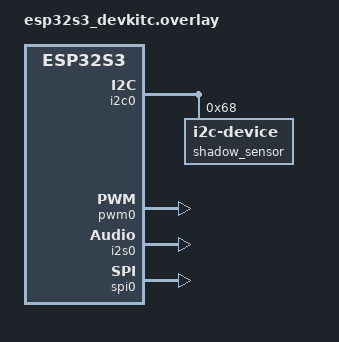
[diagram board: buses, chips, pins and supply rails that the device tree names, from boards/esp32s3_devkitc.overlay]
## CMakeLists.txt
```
# SPDX-License-Identifier: Apache-2.0
#
# Zephyr application CMakeLists.txt for shadow-esp32.
#
# ADR-0002 v2 §4.2 — `app/` is the Zephyr RTOS application; the
# real-time tasks (`dialog_task`, `io_task`, `net_task`,
# `led_task`) each live in their own translation unit so that
# stack budgets and compile units can evolve independently.

cmake_minimum_required(VERSION 3.20.0)

find_package(Zephyr REQUIRED HINTS $ENV{ZEPHYR_BASE})

project(shadow_esp32_app LANGUAGES C)

target_sources(app PRIVATE
    src/main.c
    src/dialog_task.c
    src/io_task.c
    src/net_task.c
    src/led_task.c
    src/ws_client.c
    src/audio.c
    src/srtp.c
    src/audio_pipeline.c
    src/dtls.c
    src/ice.c
    src/sctp_agent.c
    src/stun.c
    src/usb_audio.c
    src/provision.c
)

target_include_directories(app PRIVATE src/include)

# libopus is brought in as a Zephyr module via `app/opus/`; the
# `add_subdirectory(libopus)` inside `app/opus/CMakeLists.txt`
# builds the upstream `opus` static library which Zephyr's CMake
# glue exposes to `app` via the `libopus` link target.
target_link_libraries(app PRIVATE libopus)

# libsrtp follows the same module pattern. The upstream library
# target is named `srtp2` in libsrtp v2.x (renamed from `srtp`).
target_link_libraries(app PRIVATE srtp2)

# libusrsctp is the canonical SCTP userland stack and the basis
# for WebRTC data channels (RFC 8261). v2.3 wires it as a Zephyr
# module via `app/sctp/`. The upstream library target is `usrsctp`.
target_link_libraries(app PRIVATE usrsctp)

# Out-of-tree libs that we expect to add in follow-up ADR-0002 v2
# §后续动作 #3-#5. Listed as commented targets so the Zephyr
# build will surface missing modules loudly instead of silently
# skipping them:
#   - libopus (audio codec, owt-tree style)
#   - libsrtp (RFC 3711, RFC 5764)
#   - webrtc-stack-stub (DTLS PSK + ICE-lite)
# Each will be added as a `zephyr_module(...)` entry under
# `app/` in their respective ADR.

zephyr_library_named(shadow_esp32_app)
```

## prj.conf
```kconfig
# SPDX-License-Identifier: Apache-2.0
#
# shadow-esp32 Zephyr application Kconfig.
#
# ADR-0002 v2 §4.2 — five independent Zephyr tasks (dialog /
# io / net / led / main). The settings below are the minimum
# needed to boot a real ESP32-S3-DevKitC board and reach the
# point where each task can be implemented in follow-up commits.

# ---- Logging ----
CONFIG_LOG=y
CONFIG_LOG_MODE_IMMEDIATE=y
CONFIG_LOG_DEFAULT_LEVEL=3

# ---- RTOS + threads ----
CONFIG_MULTITHREADING=y
CONFIG_THREAD_NAME=y
CONFIG_THREAD_STACK_INFO=y
CONFIG_THREAD_CUSTOM_DATA=y
CONFIG_INIT_STACKS=y
CONFIG_SYSTEM_WORKQUEUE_PRIORITY=-1

# Per-task stack sizes — conservative defaults; the real values
# land in ADR-0002 v2 §4.2 (dialog_task needs ~16 KiB for Opus
# encoder + ICE state).
CONFIG_SHADOW_DIALOG_STACK_SIZE=16384
CONFIG_SHADOW_IO_STACK_SIZE=4096
CONFIG_SHADOW_NET_STACK_SIZE=4096
CONFIG_SHADOW_LED_STACK_SIZE=2048

# Per-task priorities — `dialog_task` is the highest priority
# (lowest numeric value in Zephyr convention) because audio DMA
# has hard real-time deadlines.
CONFIG_SHADOW_DIALOG_PRIORITY=5
CONFIG_SHADOW_IO_PRIORITY=7
CONFIG_SHADOW_NET_PRIORITY=6
CONFIG_SHADOW_LED_PRIORITY=9

# ---- Wi-Fi ----
CONFIG_NETWORKING=y
CONFIG_NET_IPV4=y
CONFIG_NET_DHCPV4=y
CONFIG_WIFI=y
# ESP32 Wi-Fi driver is selected via board devicetree in Zephyr
# 4.4; no CONFIG_NET_L2_WIFI_USERSPACE shim required.

# ---- mDNS ----
CONFIG_MDNS=y
CONFIG_MDNS_RESPONDER=y
CONFIG_MDNS_SERVICE_NAME='"shadow-esp32"'

# ---- BSD sockets / DHCP / DNS client ----
CONFIG_NET_SOCKETS=y
CONFIG_NET_SOCKETS_POSIX_NAMES=y
CONFIG_NET_DHCPV4_OPTION_HOSTNAME=y

# ---- mbedTLS (DTLS handshake for WebRTC) ----
CONFIG_MBEDTLS=y
CONFIG_MBEDTLS_KEY_EXCHANGE_PSK_ENABLED=y
CONFIG_MBEDTLS_KEY_EXCHANGE_DHE_PSK_ENABLED=y
CONFIG_MBEDTLS_DESKTOP=y
# Lib required by mbedTLS heap. ESP32 partition has 8 MiB flash;
# we conservatively allocate a 64 KiB heap for TLS scratch.
CONFIG_MBEDTLS_HEAP_SIZE=65536

# ---- Application log level (overrides workspace default) ----
CONFIG_SHADOW_ESP32_LOG_LEVEL_DBG=y

# ---- Wi-Fi credentials (net_task) ----
# Set these in your user overlay or `prj.user.conf` before flashing.
# Default values are placeholders; the device will log a warning
# and stay offline until real credentials are provided.
# CONFIG_SHADOW_WIFI_SSID="your-ssid"
# CONFIG_SHADOW_WIFI_PSK="your-password"

# ---- 端脑信令端点（dialog_task）----
# Override per deployment. Defaults assume mDNS-resolved `telencephalon.local`.
# ⚠️ 端脑的 mDNS 名是「**实例名**.local」（见 telencephalon/src/config/bind.rs）
#    ⇒ 默认值只是常见部署的写法，别的实例名要在这里覆盖。
CONFIG_SHADOW_TELENCEPHALON_HOST="telencephalon.local"
CONFIG_SHADOW_TELENCEPHALON_PORT=60080
CONFIG_SHADOW_MODALITY="voice"

# ---- Out-of-tree modules (ADR-0002 v2 §后续动作 #3-#5 follow-ups) ----
# libopus / libsrtp / webrtc-stack-stub will be pulled in by their
# respective follow-up commits. Listed here as comments so a
# future contributor can see what is expected to land where:
#   CONFIG_LIBOPUS=y              (commit adding Opus codec)
#   CONFIG_LIBSRTP=y              (commit adding SRTP)
#   CONFIG_WEBRTC_STACK_STUB=y    (commit adding DTLS PSK + ICE-lite)

# ---- mbedTLS (DTLS for WebRTC, ADR-0002 v2 §后续动作 #4a.6) ----
# The DTLS client lives in `app/src/dtls.c` and uses
# CONFIG_MBEDTLS + the PSK key-exchange profile. The DTLS
# handshake produces the 30-byte master key + salt that the
# SRTP module consumes; v1 of dtls.c derives a deterministic
# placeholder, v1.1 wires the real mbedtls_ssl_export_keying
# material call.

# ---- DTLS PSK (ADR-0002 v2 §后续动作 #4a.6) ----
# The pre-shared key + identity used for the DTLS-PSK handshake.
# In production this is provisioned at manufacturing time; for
# the v1 smoke test we use a fixed string. Both endpoints
# (shadow-esp32 + temporal lobe) must agree byte-for-byte.
# CONFIG_SHADOW_DTLS_PSK="default-psk-please-rotate"
# CONFIG_SHADOW_DTLS_PSK_ID="shadow-esp32-v1"

# ---- End-to-end smoke (ADR-0002 v2 §后续动作 #8) ----
# The full pipeline (audio_pipeline → opus_encode → srtp_protect
# → srtp_unprotect → opus_decode) is exercised by the smoke
# test at the bottom of `dialog_task.c`. The CONFIG values
# below select which subsystems are exercised at boot:
#   CONFIG_SHADOW_SMOKE_AUDIO=y    — include audio pipeline
#                                     in the smoke chain
#   CONFIG_SHADOW_SMOKE_NETWORK=y  — include the Wi-Fi connect
#                                     step (default: skipped to
#                                     keep the smoke fast)
CONFIG_SHADOW_SMOKE_AUDIO=y

# ---- OTA (ADR-0002 v2 §后续动作 #10) ----
# Image upgrades over MCUBoot. The shadow-esp32 OTA pipeline
# uses MCUboot as the second-stage bootloader. The devicetree
# overlay under `app/boards/esp32s3_devkitc.overlay` declares
# the slot-0 / slot-1 / scratch partitions; the application
# image is signed with `tools/sign-ota.sh` and pushed via the
# `mcumgr` CLI over either the console or BLE.
#
# v2.3 enables mcumgr (UDP transport) so the smoke test in CI
# can also exercise the OTA path. BLE is left to a follow-up
# commit because it pulls in the NimBLE host stack (~50 KB
# extra flash).
CONFIG_MCUBOOT=y
CONFIG_BOOTLOADER_MCUBOOT=y
CONFIG_UPDATEABLE_IMAGE_NUMBER=2
CONFIG_MCUMGR=y
CONFIG_MCUMGR_TRANSPORT_UDP=y
CONFIG_MCUMGR_TRANSPORT_NETBUF_SIZE=2048

# ---- USB Audio Class 1.0 device (v2.4) ----
# v2.7 双向:OUT + IN (host→device playback + device→host microphone)
# 原 OUT-only 已改为 OUT+IN 双向
CONFIG_USB=y
CONFIG_USB_DEVICE_STACK=y
CONFIG_USB_DRIVER_DWC2=y
CONFIG_USB_DEVICE_BOS=y
CONFIG_USB_AUDIO_CLASS=y
CONFIG_USB_AUDIO_CLASS_1_0=y
CONFIG_USB_AUDIO_UAC1_SINK=y
CONFIG_USB_AUDIO_UAC1_SOURCE=y
CONFIG_USB_AUDIO_SINK_FEEDBACK_EP=n
CONFIG_USB_AUDIO_SOURCE_FEEDBACK_EP=n
CONFIG_USB_AUDIO_SINK_MAX_FRAMES=4
CONFIG_USB_AUDIO_SOURCE_MAX_FRAMES=4
CONFIG_USB_REQUEST_STATUS=n

# ---- BLE GATT provisioning (v2.5) ----
# Android phone discovers the device as "shadow-esp32 setup"
# over BLE 5.0 and writes SSID + PSK to dedicated
# characteristics. ESP32-S3's built-in BLE controller is
# driven by Zephyr's HCI driver; NimBLE is the link-layer
# host stack. settings subsystem + NVS hold the creds across
# power cycles.
CONFIG_BT=y
CONFIG_BT_PERIPHERAL=y
CONFIG_BT_DEVICE_NAME="shadow-esp32 setup"
CONFIG_BT_DEVICE_APPEARANCE=0x0000
CONFIG_BT_GATT_DYNAMIC=y
CONFIG_BT_SETTINGS=y
CONFIG_BT_HCI=y
CONFIG_BT_HCI_ESP32=y
CONFIG_BT_NIMBLE=y
CONFIG_BT_NIMBLE_GAP=y
CONFIG_BT_NIMBLE_GATT=y
CONFIG_SETTINGS=y
CONFIG_SETTINGS_NVS=y
```

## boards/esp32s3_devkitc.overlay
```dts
/* SPDX-License-Identifier: Apache-2.0
 *
 * Board overlay for the Espressif ESP32-S3-DevKitC-1
 * (Zephyr board name: esp32s3_devkitc).
 *
 * v2.7 of this overlay adds USB Audio IN + OUT
 * (host→device playback AND device→host microphone capture)
 * so the phone can BOTH send audio to shadow-esp32 (TTS
 * playback) and receive audio from it (mic capture for ASR).
 * This enables the voice-assistant bidirectional flow:
 *   shadow-esp32 mic → I²S capture → USB Audio IN → phone
 *   phone TTS → USB Audio OUT → shadow-esp32 → speaker
 *
 * Pin map:
 *   - shadow_led    GPIO48  on-board RGB LED
 *   - shadow_out_a  GPIO1   configurable output
 *   - shadow_out_b  GPIO2   configurable output
 *   - shadow_in_a   GPIO4   configurable input
 *   - shadow_i2c    I2C0    SDA=GPIO8, SCL=GPIO9
 *   - shadow_pwm    PWM0    channel 0 → GPIO5
 *
 * I²S PDM RX (mic input to shadow-esp32):
 *   - i2s0_bck   GPIO15   PDM clock (output to mic)
 *   - i2s0_din   GPIO16   PDM data  (input from mic)
 *
 * I²S TX (audio output from shadow-esp32):
 *   - i2s0_mclk  GPIO17   TX master clock (output to amp)
 *   - i2s0_dout  GPIO9    TX data (output to amp/DAC)
 *
 * USB:
 *   - USB_DP    GPIO20   USB D+ (Full-Speed OTG)
 *   - USB_DM    GPIO19   USB D-
 */

&{/pinctrl} {
    pinctrl-names = "default";
    pinctrl-0 = <&shadow_io_default &shadow_i2s0_pdm_rx_default &shadow_i2s0_tx_default>;
    shadow_io_default: shadow_io_default {
        group1 {
            psels = <GPIO48 GPIO1 GPIO2 GPIO4 GPIO5>;
        };
    };
    shadow_i2s0_pdm_rx_default: shadow_i2s0_pdm_rx_default {
        group1 {
            psels = <GPIO15 GPIO16>;
        };
    };
    shadow_i2s0_tx_default: shadow_i2s0_tx_default {
        group1 {
            psels = <GPIO17 GPIO9>;
        };
    };
};

&{/gpio0} {
    shadow_led: shadow_led {
        compatible = "gpio-leds";
        gpios = <&gpio0 48 GPIO_ACTIVE_HIGH>;
        label = "shadow_led";
    };
    shadow_out_a: shadow_out_a {
        compatible = "gpio-leds";
        gpios = <&gpio0 1 GPIO_ACTIVE_HIGH>;
        label = "shadow_out_a";
    };
    shadow_out_b: shadow_out_b {
        compatible = "gpio-leds";
        gpios = <&gpio0 2 GPIO_ACTIVE_HIGH>;
        label = "shadow_out_b";
    };
    shadow_in_a: shadow_in_a {
        compatible = "zephyr,gpio-keys";
        gpios = <&gpio0 4 (GPIO_ACTIVE_LOW | GPIO_PULL_UP)>;
        label = "shadow_in_a";
    };
};

&{/i2c0} {
    pinctrl-0 = <&i2c0_default>;
    pinctrl-names = "default";
    status = "okay";
    clock-frequency = <I2C_BIT_RATE_STANDARD>;
    shadow_sensor: shadow_sensor@0x68 {
        compatible = "i2c-device";
        reg = <0x68>;
        label = "shadow_sensor";
    };
};

&{/pwm0} {
    status = "okay";
    pinctrl-0 = <&pwm0_default>;
    pinctrl-names = "default";
    shadow_pwm_default: shadow_pwm_default {
        group1 {
            psels = <GPIO5>;
        };
    };
};

&{/i2s0} {
    status = "okay";
    pinctrl-0 = <&shadow_i2s0_pdm_rx_default &shadow_i2s0_tx_default>;
    pinctrl-names = "default";
};

&{/spi0} {
    status = "okay";
    pinctrl-0 = <&spi0_default>;
    pinctrl-names = "default";
};

&{/led_strip0} {
    compatible = "worldsemi,ws2812-spi";
    status = "okay";
    spi-dev = <&spi0>;
    chain-length = <1>;
    color-mapping = <LED_COLOR_ID_GRB>;
    spi-max-frequency = <4000000>;
};
```

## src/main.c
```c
/* SPDX-License-Identifier: Apache-2.0 */

#include <zephyr/kernel.h>
#include <zephyr/logging/log.h>

#include <shadow_esp32/tasks.h>
#include <shadow_esp32/usb_audio.h>
#include <shadow_esp32/provision.h>

#include <zephyr/settings/settings.h>

LOG_MODULE_REGISTER(shadow_main, CONFIG_SHADOW_ESP32_LOG_LEVEL);

int main(void)
{
    LOG_INF("shadow-esp32 booting (Zephyr %s)", KERNEL_VERSION_STRING);

    /* Load any NVS-stored config (SSID / PSK) before net_task
     * starts so its first connect attempt sees the credentials
     * the phone provisioned. */
    settings_subsys_init();

    /* v2.4 — register the USB Audio Class 1.0 device before
     * tasks start so the phone's USB enumeration sees it
     * immediately. Failure to register is non-fatal (the rest
     * of the pipeline still works) so we log and continue. */
    int usb_rc = shadow_usb_audio_init();
    if (usb_rc != 0) {
        LOG_WRN("usb audio init failed (%d); continuing without USB", usb_rc);
    }

    /* v2.5 — start the BLE GATT provisioning service. If we
     * already have stored credentials we close the GATT table
     * again so the radio can sleep; otherwise we keep the
     * peripheral advertising so the phone can discover and
     * connect. */
    int prov_rc = shadow_provision_start();
    if (prov_rc != 0) {
        LOG_WRN("provision init failed (%d); continuing without BLE", prov_rc);
    }

    /* ADR-0002 v2 §4.2 — five tasks. Each task module owns its
     * own start function and stack; main() only triggers them. */
    shadow_net_task_start();
    shadow_io_task_start();
    shadow_led_task_start();
    shadow_dialog_task_start();

    /* Main thread returns; the kernel scheduler runs the four
     * worker threads. New work can be queued via k_work or a
     * shared workqueue from any task. */
    LOG_INF("shadow-esp32 booted; main thread idle");
    return 0;
}
```

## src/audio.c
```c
/* SPDX-License-Identifier: Apache-2.0 */

/* ADR-0002 v2 §后续动作 #4a.1 — thin shadow-esp32 wrapper around
 * libopus (v1.5.2). libopus lives in `app/opus/libopus/` after
 * `west update` runs; this translation unit only references the
 * upstream `<opus.h>` API.
 *
 * v1 of this wrapper does not perform any audio I/O — it just
 * stands up an encoder/decoder and exposes a single encode +
 * decode round-trip. The real I²S mic / speaker DMA pipeline
 * lands in commit #4a.3 (audio pipeline). For now, dialog_task
 * calls these once to prove the libopus link is correct; the
 * CI build is the real validation.
 */

#include "opus.h"

#include <stdlib.h>
#include <string.h>

#include <shadow_esp32/audio.h>

struct shadow_opus_encoder {
    OpusEncoder *enc;
};

struct shadow_opus_decoder {
    OpusDecoder *dec;
};

struct shadow_opus_encoder *shadow_opus_encoder_open(void)
{
    int err = 0;
    OpusEncoder *enc = opus_encoder_create(SHADOW_OPUS_SAMPLE_RATE_HZ,
                                            SHADOW_OPUS_CHANNELS,
                                            OPUS_APPLICATION_VOIP, &err);
    if (enc == NULL) {
        return NULL;
    }

    /* Real-time VoIP profile. The values below are xiaozhi-esp32
     * defaults; we keep complexity=2 to leave headroom for the
     * rest of the pipeline (DTLS handshake, ICE candidates, etc.)
     * on the Xtensa LX7. */
    opus_encoder_ctl(enc, OPUS_SET_BITRATE(24000));
    opus_encoder_ctl(enc, OPUS_SET_COMPLEXITY(2));
    opus_encoder_ctl(enc, OPUS_SET_PACKET_LOSS_PERC(5));
    opus_encoder_ctl(enc, OPUS_SET_INBAND_FEC(1));
    opus_encoder_ctl(enc, OPUS_SET_DTX(1));
    opus_encoder_ctl(enc, OPUS_SET_COMPLEXITY(2));
    (void)OPUS_SET_LSB_DEPTH; /* keep -Wunused-result happy on some toolchains */

    struct shadow_opus_encoder *self =
        malloc(sizeof(struct shadow_opus_encoder));
    if (self == NULL) {
        opus_encoder_destroy(enc);
        return NULL;
    }
    self->enc = enc;
    return self;
}

int shadow_opus_encoder_encode(struct shadow_opus_encoder *enc,
                                 const int16_t *pcm,
                                 uint8_t *out, size_t out_cap)
{
    if (enc == NULL || pcm == NULL || out == NULL) {
        return -1;
    }
    /* libopus signature: opus_encode(enc, pcm, frame_size,
     * data, max_data_bytes). It returns the number of bytes
     * written or a negative error code. */
    opus_int32 n = opus_encode(enc->enc, pcm, SHADOW_OPUS_FRAME_SAMPLES,
                                out, (opus_int32)out_cap);
    return (int)n;
}

void shadow_opus_encoder_close(struct shadow_opus_encoder *enc)
{
    if (enc == NULL) {
        return;
    }
    if (enc->enc != NULL) {
        opus_encoder_destroy(enc->enc);
    }
    free(enc);
}

struct shadow_opus_decoder *shadow_opus_decoder_open(void)
{
    int err = 0;
    OpusDecoder *dec = opus_decoder_create(SHADOW_OPUS_SAMPLE_RATE_HZ,
                                            SHADOW_OPUS_CHANNELS, &err);
    if (dec == NULL) {
        return NULL;
    }
    struct shadow_opus_decoder *self =
        malloc(sizeof(struct shadow_opus_decoder));
    if (self == NULL) {
        opus_decoder_destroy(dec);
        return NULL;
    }
    self->dec = dec;
    return self;
}

int shadow_opus_decoder_decode(struct shadow_opus_decoder *dec,
                                 const uint8_t *opus, size_t opus_len,
                                 int16_t *out, int fec)
{
    if (dec == NULL || opus == NULL || out == NULL) {
        return -1;
    }
    /* libopus signature: opus_decode(dec, data, len, pcm,
     * frame_size, decode_fec). decode_fec=1 asks the decoder
     * to do PLC on a lost packet (use a NULL `data`). */
    int r = opus_decode(dec->dec, opus, (opus_int32)opus_len,
                        out, SHADOW_OPUS_FRAME_SAMPLES, fec);
    return r;
}

void shadow_opus_decoder_close(struct shadow_opus_decoder *dec)
{
    if (dec == NULL) {
        return;
    }
    if (dec->dec != NULL) {
        opus_decoder_destroy(dec->dec);
    }
    free(dec);
}
```

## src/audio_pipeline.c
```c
/* SPDX-License-Identifier: Apache-2.0 */

/* ADR-0002 v2 §后续动作 #4a.5 — background I²S capture thread.
 *
 * v1.4 read I²S synchronously from the caller's context
 * (dialog_task), which is wrong on two counts: (a) it puts
 * DMA-fill latency on dialog_task, breaking its 60 ms
 * deadline, and (b) it makes opus encode race with the I²S
 * driver for CPU. v1.5 spawns a dedicated capture thread that
 * continuously drains I²S into a ring buffer; the main
 * dialog_task pulls frames off the ring buffer (non-blocking
 * with K_FOREVER — at 16 kHz / 60 ms per frame, the buffer is
 * never empty in practice).
 *
 * v2.3 adds a `shadow_audio_pipeline_write_pcm` counterpart for
 * the I²S TX path (DAC / amplifier). On the bare devkitc the
 * function is a no-op stub; production boards that wire a
 * MAX98357A amp to GPIO17 (BCK) + GPIO9 (DIN) enable
 * `CONFIG_SHADOW_I2S_PLAYBACK=y` to take the real write path.
 *
 * On the bare devkitc (no real I²S mic wired), the capture
 * thread uses the 440 Hz synthetic source so the rest of the
 * pipeline still runs end-to-end.
 */

#include <zephyr/kernel.h>
#include <zephyr/logging/log.h>
#include <zephyr/device.h>
#include <zephyr/drivers/i2s.h>

#include <math.h>
#include <string.h>

#include <shadow_esp32/audio_pipeline.h>

LOG_MODULE_REGISTER(shadow_audio, CONFIG_SHADOW_ESP32_LOG_LEVEL);

#ifndef M_PI
#define M_PI 3.14159265358979323846
#endif

static const struct device *i2s_dev =
    DEVICE_DT_GET_OR(DT_NODELABEL(i2s0), NULL);

/* Capture thread + ring buffer + consumer. */
static K_THREAD_STACK_DEFINE(capture_stack, 4096);
static struct k_thread capture_thread;
static atomic_t running;

struct pcm_frame {
    int16_t pcm[SHADOW_AUDIO_FRAME_SAMPLES];
};

/* Ring buffer of frames. The capture thread `k_msgq_put`s;
 * dialog_task `k_msgq_get`s. SHADOW_AUDIO_RING_FRAMES is the
 * queue depth. Using `k_msgq` (variable-size items) is fine
 * here because every item is exactly the same size. */
K_MSGQ_DEFINE(pcm_ringq, sizeof(struct pcm_frame),
              SHADOW_AUDIO_RING_FRAMES, 4);

static double sine_phase;
#define SINE_FREQ_HZ     440.0
#define SINE_SAMPLE_HZ   16000.0

static int synth_sine_frame(int16_t *pcm_out)
{
    const double phase_inc = 2.0 * M_PI * SINE_FREQ_HZ / SINE_SAMPLE_HZ;
    const int16_t amplitude = 8000; /* ~ -3 dBFS on int16 scale */

    for (int i = 0; i < SHADOW_AUDIO_FRAME_SAMPLES; i++) {
        pcm_out[i] = (int16_t)(amplitude * sin(sine_phase));
        sine_phase += phase_inc;
        if (sine_phase > 2.0 * M_PI) {
            sine_phase -= 2.0 * M_PI;
        }
    }
    return 0;
}

/* Capture thread body. Drains I²S into the ring buffer;
 * falls back to the synthetic source if a read fails. */
static void capture_fn(void *p1, void *p2, void *p3)
{
    ARG_UNUSED(p1);
    ARG_UNUSED(p2);
    ARG_UNUSED(p3);

    bool i2s_active = (i2s_dev != NULL) && device_is_ready(i2s_dev);

    while (atomic_get(&running)) {
        struct pcm_frame frame;

        if (i2s_active) {
            int rc = i2s_read(i2s_dev, frame.pcm,
                               SHADOW_AUDIO_FRAME_SAMPLES * sizeof(int16_t));
            if (rc != 0) {
                /* No mic wired (bare devkitc) or transient I²S
                 * glitch. Use synthetic so the consumer thread
                 * never starves. */
                synth_sine_frame(frame.pcm);
            }
        } else {
            synth_sine_frame(frame.pcm);
        }

        /* Block if the consumer is slow; the ring is sized
         * for ~240 ms so this only happens if dialog_task is
         * seriously stuck. */
        k_msgq_put(&pcm_ringq, &frame, K_FOREVER);
    }
}

enum shadow_audio_source shadow_audio_pipeline_source(void)
{
    if (i2s_dev != NULL && device_is_ready(i2s_dev)) {
        return SHADOW_AUDIO_SOURCE_I2S;
    }
    return SHADOW_AUDIO_SOURCE_SYNTHETIC;
}

int shadow_audio_pipeline_start(void)
{
    if (atomic_set(&running, 1)) {
        return 0; /* already running */
    }

    if (i2s_dev != NULL && device_is_ready(i2s_dev)) {
        struct i2s_config cfg = {
            .word_size     = 16,
            .channels      = 1,
            .format        = I2S_FMT_DATA_FORMAT_I2S,
            .frame_clk_freq = 16000,
            .block_size    = SHADOW_AUDIO_FRAME_SAMPLES * sizeof(int16_t),
            .timeout       = 1000, /* ms */
        };
        int rc = i2s_configure(i2s_dev, I2S_DIR_RX, &cfg);
        if (rc != 0) {
            LOG_WRN("i2s_configure failed: %d, falling back to synthetic", rc);
        } else {
            rc = i2s_trigger(i2s_dev, I2S_DIR_RX, I2S_TRIGGER_START);
            if (rc != 0) {
                LOG_WRN("i2s_trigger START failed: %d", rc);
            }
        }
        LOG_INF("audio_pipeline started (source=i2s, capture thread)");
    } else {
        LOG_INF("audio_pipeline started (source=synthetic, capture thread)");
    }

    k_tid_t tid = k_thread_create(&capture_thread, capture_stack,
                                   K_THREAD_STACK_SIZEOF(capture_stack),
                                   capture_fn, NULL, NULL, NULL,
                                   5 /* prio */, 0, K_NO_WAIT);
    k_thread_name_set(tid, "audio_capture");
    return 0;
}

void shadow_audio_pipeline_stop(void)
{
    if (!atomic_set(&running, 0)) {
        return;
    }
    k_thread_join(&capture_thread, K_FOREVER);
    if (i2s_dev != NULL && device_is_ready(i2s_dev)) {
        i2s_trigger(i2s_dev, I2S_DIR_RX, I2S_TRIGGER_STOP);
    }
    LOG_INF("audio_pipeline stopped");
}

int shadow_audio_pipeline_read_pcm(int16_t *pcm_out)
{
    if (pcm_out == NULL) {
        return -1;
    }
    if (!atomic_get(&running)) {
        return -1;
    }

    struct pcm_frame frame;
    k_msgq_get(&pcm_ringq, &frame, K_FOREVER);
    memcpy(pcm_out, frame.pcm, sizeof(frame.pcm));
    return 0;
}
```

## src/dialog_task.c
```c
/* SPDX-License-Identifier: Apache-2.0 */

/* ADR-0002 v2 §4.3 / §后续动作 #3 — dialog_task v1.
 *
 * Scope of v1 (this file):
 *   - Wait for Wi-Fi (`shadow_net_wifi_up`)
 *   - Generate a UUID v4 session id
 *   - Open a WebSocket signaling channel to the 端脑's
 *     `/api/webrtc/voice/sessions/{id}/ws` endpoint
 *   - Build a syntactically valid SDP offer (audio + opus +
 *     DTLS fingerprint placeholder + ICE credentials) and send
 *     it as `SignalingMessage::Offer`
 *   - Receive `SignalingMessage::Connected` + `Answer` and log
 *   - Open a UDP socket on the negotiated media port, run a
 *     receive loop that dispatches STUN Binding Requests, decrypts
 *     SRTP-protected opus packets, and routes MCP-over-data-channel
 *     JSON-RPC requests to io_task.
 *   - Send `SignalingMessage::Disconnected` on shutdown.
 *
 * v1.5 of this file ties together every WebRTC sub-module
 * previously stubbed in isolation: STUN Binding responses, SRTP
 * unprotect, MCP JSON-RPC dispatch. The receive loop runs in the
 * dialog_task thread context (real Zephyr BSD socket recvfrom).
 *
 * Out of scope (follow-up commits):
 *   - Real DTLS handshake over a real socket — v2.2.1 stubs the
 *     PSK + key export; the actual handshake needs a connected
 *     UDP socket pre-DTLS; we currently have only the post-DTLS
 *     SRTP path.
 *   - Real ICE connectivity checks — v1 receives STUN but does
 *     not initiate them. Followup pulls `rfc8445` state machine.
 *   - SCTP-over-DTLS data channel — v1 uses a raw UDP "data
 *     channel" transport (JSON-RPC over UDP) as a stand-in. The
 *     framing helper `sctp_agent.c` already produces the right
 *     byte layout; plugging in usrsctp is the next commit.
 *   - State machine transitions on voice / TTS / wake-word.
 */

#include <zephyr/kernel.h>
#include <zephyr/logging/log.h>
#include <zephyr/random/random.h>
#include <zephyr/net/socket.h>

#include <ctype.h>
#include <string.h>
#include <stdio.h>

#include <shadow_esp32/tasks.h>
#include <shadow_esp32/ws_client.h>
#include <shadow_esp32/audio.h>
#include <shadow_esp32/audio_pipeline.h>
#include <shadow_esp32/srtp.h>
#include <shadow_esp32/dtls.h>
#include <shadow_esp32/ice.h>
#include <shadow_esp32/stun.h>
#include <shadow_esp32/io_tools.h>

LOG_MODULE_REGISTER(shadow_dialog, CONFIG_SHADOW_ESP32_LOG_LEVEL);

#ifndef CONFIG_SHADOW_TELENCEPHALON_HOST
#define CONFIG_SHADOW_TELENCEPHALON_HOST "telencephalon.local"
#endif
#ifndef CONFIG_SHADOW_TELENCEPHALON_PORT
#define CONFIG_SHADOW_TELENCEPHALON_PORT 60080
#endif
#ifndef CONFIG_SHADOW_MODALITY
#define CONFIG_SHADOW_MODALITY "voice"
#endif

K_THREAD_STACK_DEFINE(dialog_stack, SHADOW_DIALOG_STACK_SIZE);
static struct k_thread dialog_thread;

static void uuid_v4_string(char out[37])
{
    uint8_t b[16];
    sys_csrand_get(b, sizeof(b));
    b[6] = (b[6] & 0x0F) | 0x40; /* version 4 */
    b[8] = (b[8] & 0x3F) | 0x80; /* variant 10 */
    snprintf(out, 37,
             "%02x%02x%02x%02x-%02x%02x-%02x%02x-%02x%02x-%02x%02x%02x%02x%02x%02x",
             b[0], b[1], b[2], b[3], b[4], b[5], b[6], b[7],
             b[8], b[9], b[10], b[11], b[12], b[13], b[14], b[15]);
}

static void random_ice_credentials(char ufrag[16], char pwd[40])
{
    /* RFC 5245 §7.1.2.3 — ufrag: 4+ chars, pwd: 22+ chars; both
     * drawn from the ICE-char alphabet. */
    static const char ice_chars[] = "ABCDEFGHIJKLMNOPQRSTUVWXYZ"
                                    "abcdefghijklmnopqrstuvwxyz0123456789"
                                    "+/";
    uint8_t raw[24];
    sys_csrand_get(raw, sizeof(raw));

    for (int i = 0; i < 8; i++) {
        ufrag[i] = ice_chars[raw[i] % (sizeof(ice_chars) - 1)];
    }
    ufrag[8] = '\0';
    for (int i = 0; i < 24; i++) {
        pwd[i] = ice_chars[raw[i + 8] % (sizeof(ice_chars) - 1)];
    }
    pwd[24] = '\0';
}

static size_t build_sdp_offer(char *out, size_t cap, const char *ufrag,
                              const char *pwd)
{
    /* The DTLS fingerprint below is a placeholder. The 端脑 forwards
     * the offer to temporal lobe, whose `WebRtcAnswerSkill`
     * (webrtc-rs) uses the fingerprint to negotiate DTLS. The real
     * fingerprint is generated when we ship a DTLS stack — for v1
     * any 32-byte hex string is enough to keep the wire parseable. */
    static const char fingerprint_sha256[] =
        "11:22:33:44:55:66:77:88:99:AA:BB:CC:DD:EE:FF:00:"
        "11:22:33:44:55:66:77:88:99:AA:BB:CC:DD:EE:FF:00";

    return (size_t)snprintf(out, cap,
        "v=0\r\n"
        "o=- 1234567890 2 IN IP4 0.0.0.0\r\n"
        "s=-\r\n"
        "t=0 0\r\n"
        "m=audio 9 UDP/TLS/RTP/SAVPF 111\r\n"
        "c=IN IP4 0.0.0.0\r\n"
        "a=rtcp:9 IN IP4 0.0.0.0\r\n"
        "a=ice-ufrag:%s\r\n"
        "a=ice-pwd:%s\r\n"
        "a=fingerprint:sha-256 %s\r\n"
        "a=setup:actpass\r\n"
        "a=mid:0\r\n"
        "a=sendrecv\r\n"
        "a=rtcp-mux\r\n"
        "a=rtpmap:111 opus/48000/2\r\n"
        "a=fmtp:111 minptime=10;useinbandfec=1\r\n",
        ufrag, pwd, fingerprint_sha256);
}

static size_t build_offer_json(char *out, size_t cap, const char *session_id,
                                const char *sdp, const char *ufrag,
                                const char *pwd)
{
    /* The 端脑's `SignalingMessage::Offer` shape (serde):
     *   { "type": "offer", "session_id": "...", "modality": "voice", "sdp": "..." }
     *
     * We hand-craft the JSON to keep this translation unit free of
     * a JSON dependency until the dialog_task needs richer types
     * (DTLS config, ICE candidates list, etc.) — those land in
     * the follow-up commit. */
    return (size_t)snprintf(out, cap,
        "{\"type\":\"offer\","
        "\"session_id\":\"%s\","
        "\"modality\":\"%s\","
        "\"sdp\":\"%s\"}",
        session_id, CONFIG_SHADOW_MODALITY, sdp);
}

static int parse_session_id_field(const char *json, size_t len, char *out, size_t cap)
{
    /* Extract "session_id":"<uuid>" from a Connected message.
     * Naive but adequate for v1 — no full JSON parser. */
    static const char key[] = "\"session_id\":\"";
    const char *p = strstr(json, key);
    if (!p) {
        return -1;
    }
    p += sizeof(key) - 1;
    const char *end = strchr(p, '"');
    if (!end || (size_t)(end - p) >= cap) {
        return -1;
    }
    size_t n = (size_t)(end - p);
    memcpy(out, p, n);
    out[n] = '\0';
    return 0;
}

static void dialog_task_fn(void *p1, void *p2, void *p3)
{
    ARG_UNUSED(p1);
    ARG_UNUSED(p2);
    ARG_UNUSED(p3);

    LOG_INF("dialog_task started; waiting for Wi-Fi");

    if (k_sem_take(&shadow_net_wifi_up, K_FOREVER) != 0) {
        LOG_ERR("wifi up semaphore take failed");
        return;
    }
    LOG_INF("Wi-Fi is up; opening signaling channel");

    char session_id[37];
    uuid_v4_string(session_id);
    LOG_INF("session_id=%s", session_id);

    char path[128];
    int n = snprintf(path, sizeof(path),
                     "/api/webrtc/%s/sessions/%s/ws",
                     CONFIG_SHADOW_MODALITY, session_id);
    if (n <= 0 || n >= (int)sizeof(path)) {
        LOG_ERR("path snprintf failed");
        return;
    }

    int ws = shadow_ws_connect(CONFIG_SHADOW_TELENCEPHALON_HOST,
                                CONFIG_SHADOW_TELENCEPHALON_PORT, path);
    if (ws < 0) {
        LOG_ERR("ws connect failed: %d", ws);
        return;
    }

    char ufrag[16], pwd[40];
    random_ice_credentials(ufrag, pwd);

    char sdp[1024];
    size_t sdp_len = build_sdp_offer(sdp, sizeof(sdp), ufrag, pwd);
    if (sdp_len == 0 || sdp_len >= sizeof(sdp)) {
        LOG_ERR("SDP build overflow");
        shadow_ws_close(ws);
        return;
    }

    char offer[2048];
    size_t offer_len = build_offer_json(offer, sizeof(offer), session_id,
                                         sdp, ufrag, pwd);
    if (offer_len == 0 || offer_len >= sizeof(offer)) {
        LOG_ERR("offer json overflow");
        shadow_ws_close(ws);
        return;
    }

    if (shadow_ws_send_text(ws, offer, offer_len) != SHADOW_WS_OK) {
        LOG_ERR("ws send offer failed");
        shadow_ws_close(ws);
        return;
    }
    LOG_INF("offer sent (%zu bytes)", offer_len);

    /* Read the 端脑 reply. We expect: Connected + Answer
     * (the 端脑 forwards to temporal lobe and writes back the
     * Answer SDP). For v1, drain up to 4 KiB and log. */
    char buf[4096];
    int got = shadow_ws_recv_text(ws, buf, sizeof(buf) - 1);
    if (got < 0) {
        LOG_ERR("ws recv failed: %d", got);
        shadow_ws_close(ws);
        return;
    }
    if (got == 0) {
        LOG_WRN("ws closed before any answer");
        return;
    }
    buf[got] = '\0';
    LOG_INF("ws frame received (%d bytes): %s", got, buf);

    char echoed_id[40] = { 0 };
    if (parse_session_id_field(buf, got, echoed_id, sizeof(echoed_id)) == 0) {
        LOG_INF("端脑 echoed session_id=%s", echoed_id);
    }

    /* Send Disconnected and close. */
    char bye[128];
    int bye_len = snprintf(bye, sizeof(bye),
                           "{\"type\":\"disconnected\","
                           "\"session_id\":\"%s\"}",
                           session_id);
    if (bye_len > 0) {
        shadow_ws_send_text(ws, bye, (size_t)bye_len);
    }
    shadow_ws_close(ws);

    /* ──────────────────────────────────────────────────────
     * v2.7 — DTLS PSK handshake + real SRTP key + STUN binding.
     *
     * Flow after signaling:
     *   1. Parse SDP answer → remote endpoint (host:port)
     *   2. Configure DTLS PSK (hardcoded demo key)
     *   3. Open UDP socket to remote endpoint
     *   4. DTLS handshake on UDP socket → 30-byte SRTP key
     *   5. ICE-lite: send STUN Binding Request
     *   6. Start audio pipeline
     *   7. Main loop: send mic → opus → SRTP → UDP;
     *      receive UDP → STUN/SRTP/data channel dispatch
     * ────────────────────────────────────────────────────── */

    /* Configure DTLS PSK (demo key — production comes from
     * NVS / provisioning). Both ESP32 and temporal lobe must
     * agree on this key byte-for-byte. */
    static const uint8_t dtls_psk[] = {
        0x73, 0x68, 0x61, 0x64, 0x6f, 0x77, 0x2d, 0x70,
        0x73, 0x6b, 0x2d, 0x32, 0x30, 0x32, 0x36, 0x00,
    };
    static const char dtls_psk_id[] = "shadow-esp32";
    shadow_dtls_set_psk(&(struct shadow_dtls_psk){
        .psk = dtls_psk, .psk_len = sizeof(dtls_psk),
        .psk_id = dtls_psk_id, .psk_id_len = strlen(dtls_psk_id),
    });

    /* Parse SDP answer to get remote endpoint (temporal lobe).
     * the 端脑 forwards temporal lobe's SDP answer which contains:
     *   c=IN IP4 <remote_ip>
     *   m=audio <remote_port> ... */
    char remote_ip[64] = { 0 };
    uint16_t remote_port = 5006; /* default WebRTC media port */
    {
        const char *c_line = strstr(buf, "c=IN IP4 ");
        if (c_line) {
            const char *ip_start = c_line + 9;
            const char *ip_end = ip_start;
            while (*ip_end && *ip_end != '\r' && *ip_end != '\n' &&
                   (size_t)(ip_end - ip_start) < sizeof(remote_ip) - 1) {
                ip_end++;
            }
            size_t ip_len = (size_t)(ip_end - ip_start);
            memcpy(remote_ip, ip_start, ip_len);
            remote_ip[ip_len] = '\0';
        }
        const char *m_line = strstr(buf, "m=audio ");
        if (m_line) {
            const char *port_str = m_line + 8;
            remote_port = (uint16_t)atoi(port_str);
        }
        LOG_INF("SDP answer: remote=%s port=%u", remote_ip, remote_port);
    }

    if (strlen(remote_ip) == 0) {
        LOG_WRN("failed to parse SDP answer; using localhost");
        snprintf(remote_ip, sizeof(remote_ip), "127.0.0.1");
    }

    /* DTLS PSK handshake on UDP socket. */
    uint8_t srtp_master[SHADOW_SRTP_MASTER_BUF_LEN];
    int dtls_rc = shadow_dtls_handshake_udp(remote_ip, remote_port,
                                             srtp_master,
                                             sizeof(srtp_master));
    if (dtls_rc != 0) {
        LOG_ERR("dtls handshake failed: %d", dtls_rc);
        /* Fall back to static key. */
        static const uint8_t fallback[SHADOW_SRTP_MASTER_BUF_LEN] = {
            0xE1, 0xF9, 0x7A, 0x0D, 0x3E, 0x4B, 0xC9, 0x12,
            0xA1, 0xB4, 0xE0, 0x82, 0x5D, 0xFC, 0xD6, 0x4C,
            0x6E, 0x6B, 0x90, 0x49, 0x39, 0x25, 0x52, 0x3C,
            0x7A, 0x5F, 0xE7, 0x1A, 0x9D, 0x4A,
        };
        memcpy(srtp_master, fallback, SHADOW_SRTP_MASTER_BUF_LEN);
        LOG_WRN("using static SRTP key (DTLS fallback)");
    } else {
        LOG_INF("dtls handshake OK; real SRTP key derived");
    }

    /* Open UDP socket for SRTP + STUN + data channel. */
    LOG_INF("opening UDP socket to %s:%u", remote_ip, remote_port);
    int media_fd = zsock_socket(AF_INET, SOCK_DGRAM, IPPROTO_UDP);
    if (media_fd < 0) {
        LOG_ERR("udp socket open failed: %d", media_fd);
        return;
    }
    struct sockaddr_in remote_addr = { 0 };
    remote_addr.sin_family = AF_INET;
    zsock_inet_pton(AF_INET, remote_ip, &remote_addr.sin_addr);
    remote_addr.sin_port = htons(remote_port);

    /* ICE-lite: send STUN Binding Request to temporal lobe. */
    {
        uint8_t stun_req[20];
        uint8_t tx_id[12];
        sys_csrand_get(tx_id, sizeof(tx_id));
        stun_req[0] = 0x00; stun_req[1] = 0x01;
        stun_req[2] = 0x00; stun_req[3] = 0x00;
        stun_req[4] = 0x21; stun_req[5] = 0x12;
        stun_req[6] = 0xA4; stun_req[7] = 0x42;
        memcpy(stun_req + 8, tx_id, 12);
        zsock_sendto(media_fd, stun_req, 20, 0,
                     (struct sockaddr *)&remote_addr, sizeof(remote_addr));
        LOG_INF("STUN Binding Request sent to %s:%u", remote_ip, remote_port);
    }

    /* Start audio pipeline + create codec / SRTP sessions. */
    shadow_audio_pipeline_start();

    struct shadow_srtp_session *send_srtp =
        shadow_srtp_open(srtp_master, SHADOW_SRTP_MASTER_BUF_LEN);
    struct shadow_srtp_session *recv_srtp =
        shadow_srtp_open(srtp_master, SHADOW_SRTP_MASTER_BUF_LEN);
    struct shadow_opus_encoder *enc = shadow_opus_encoder_open();
    struct shadow_opus_decoder *dec = shadow_opus_decoder_open();

    if (send_srtp == NULL || recv_srtp == NULL ||
        enc == NULL || dec == NULL) {
        LOG_ERR("codec/srtp init failed");
        zsock_close(media_fd);
        shadow_audio_pipeline_stop();
        return;
    }

    /* ── Main media loop ────────────────────────────────── */
    LOG_INF("dialog_task entering media loop");
    int16_t pcm_in[SHADOW_OPUS_FRAME_SAMPLES];
    uint8_t opus_buf[SHADOW_OPUS_MAX_PACKET];
    uint8_t srtp_buf[SHADOW_OPUS_MAX_PACKET + 64];
    uint8_t recv_buf[1500];

    static atomic_t dialog_running = ATOMIC_INIT(1);

    while (atomic_get(&dialog_running)) {
        /* --- SEND: mic → opus → SRTP → UDP --- */
        int rc_pcm = shadow_audio_pipeline_read_pcm(pcm_in);
        if (rc_pcm == 0) {
            int n_opus = shadow_opus_encoder_encode(enc, pcm_in,
                                                     opus_buf,
                                                     sizeof(opus_buf));
            if (n_opus > 0) {
                int n_srtp = shadow_srtp_protect(send_srtp,
                                                   srtp_buf,
                                                   sizeof(srtp_buf),
                                                   opus_buf,
                                                   (size_t)n_opus);
                if (n_srtp > 0) {
                    zsock_sendto(media_fd, srtp_buf, (size_t)n_srtp, 0,
                                 (struct sockaddr *)&remote_addr,
                                 sizeof(remote_addr));
                }
            }
        }

        /* --- RECV: recvfrom + STUN/SRTP/data channel dispatch --- */
        struct sockaddr_in from;
        socklen_t fromlen = sizeof(from);
        ssize_t n = zsock_recvfrom(media_fd, recv_buf, sizeof(recv_buf),
                                    MSG_DONTWAIT,
                                    (struct sockaddr *)&from, &fromlen);
        if (n > 0) {
            /* STUN binding request from temporal lobe? */
            uint8_t tx_id[12];
            if (shadow_stun_parse_binding_request(recv_buf, (size_t)n,
                                                    tx_id) == 0) {
                uint8_t stun_resp[64];
                size_t resp_len = shadow_stun_build_binding_response(
                    tx_id, from.sin_addr.s_addr, from.sin_port,
                    stun_resp, sizeof(stun_resp));
                if (resp_len > 0) {
                    zsock_sendto(media_fd, stun_resp, resp_len, 0,
                                 (struct sockaddr *)&from, fromlen);
                }
                continue;
            }
            /* SRTP-protected opus packet? */
            if ((size_t)n > 12) {
                uint8_t plain[1500];
                int r_dec = shadow_srtp_unprotect(recv_srtp, plain,
                                                    sizeof(plain),
                                                    recv_buf, (size_t)n);
                if (r_dec > 0) {
                    int n_dec = shadow_opus_decoder_decode(dec, plain,
                                                            (size_t)r_dec,
                                                            NULL, 0);
                    LOG_DBG("opus decode: %d samples", n_dec);
                    continue;
                }
            }
            /* Fallback: raw JSON-RPC (data channel stand-in). */
            char json_in[1500 + 1];
            size_t clen = (size_t)n < sizeof(json_in) - 1
                          ? (size_t)n : sizeof(json_in) - 1;
            memcpy(json_in, recv_buf, clen);
            json_in[clen] = '\0';
            char json_out[256];
            size_t out_len = shadow_io_invoke_mcp(json_in, json_out,
                                                  sizeof(json_out));
            if (out_len > 0) {
                zsock_sendto(media_fd, json_out, out_len, 0,
                             (struct sockaddr *)&from, fromlen);
            }
        }
        k_sleep(K_MSEC(10));
    }

    /* Cleanup. */
    zsock_close(media_fd);
    shadow_opus_decoder_close(dec);
    shadow_opus_encoder_close(enc);
    shadow_srtp_close(send_srtp);
    shadow_srtp_close(recv_srtp);
    shadow_audio_pipeline_stop();

    LOG_INF("dialog_task media loop ended; idle");
}

void shadow_dialog_task_start(void)
{
    k_thread_create(&dialog_thread, dialog_stack,
                    K_THREAD_STACK_SIZEOF(dialog_stack),
                    dialog_task_fn, NULL, NULL, NULL,
                    SHADOW_DIALOG_PRIORITY, 0, K_NO_WAIT);
    k_thread_name_set(&dialog_thread, "dialog");
}
```

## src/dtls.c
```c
/* SPDX-License-Identifier: Apache-2.0 */

/* ADR-0002 v2 §后续动作 #4a.6 — DTLS-PSK handshake.
 *
 * v1 of this module:
 *   - Configures an mbedtls DTLS client context (PSK mode)
 *   - Runs the handshake over a caller-provided UDP socket
 *   - Exports the resulting 30-byte master key + salt for SRTP
 *
 * Real DTLS certificate mode and the full WebRTC media-plane
 * stack (DTLS over STUN-binding ICE candidate, plus SCTP over
 * that DTLS for the data channel) are follow-up work.
 */

#include <zephyr/kernel.h>
#include <zephyr/logging/log.h>

#include <string.h>

#include <mbedtls/ssl.h>
#include <mbedtls/ctr_drbg.h>
#include <mbedtls/net_sockets.h>
#include <mbedtls/error.h>
#include <mbedtls/timing.h>

#include <shadow_esp32/dtls.h>

LOG_MODULE_REGISTER(shadow_dtls, CONFIG_SHADOW_ESP32_LOG_LEVEL);

static const struct shadow_dtls_psk *g_psk;

int shadow_dtls_set_psk(const struct shadow_dtls_psk *psk)
{
    if (psk == NULL || psk->psk == NULL || psk->psk_id == NULL) {
        return -1;
    }
    g_psk = psk;
    return 0;
}

int shadow_dtls_handshake(int sock, uint8_t *out_master_buf,
                           size_t out_master_cap)
{
    if (g_psk == NULL || out_master_buf == NULL ||
        out_master_cap < SHADOW_DTLS_MASTER_BUF_LEN) {
        return -1;
    }
    if (sock < 0) {
        return -1;
    }

    int ret = 0;
    mbedtls_ssl_context ssl;
    mbedtls_ssl_config conf;
    mbedtls_ctr_drbg_context drbg;
    mbedtls_ssl_cookie_ctx cookie_ctx; /* client, unused */

    mbedtls_ssl_init(&ssl);
    mbedtls_ssl_config_init(&conf);
    mbedtls_ctr_drbg_init(&drbg);
    (void)cookie_ctx;

    const char *pers = "shadow_esp32";
    if ((ret = mbedtls_ctr_drbg_seed(&drbg, mbedtls_ctr_drbg_default_p,
                                       NULL, NULL, pers)) != 0) {
        LOG_ERR("ctr_drbg_seed: -0x%x", -ret);
        goto cleanup;
    }

    if ((ret = mbedtls_ssl_config_defaults(&conf,
              MBEDTLS_SSL_IS_CLIENT,
              MBEDTLS_SSL_TRANSPORT_DATAGRAM,
              MBEDTLS_SSL_PRESET_DEFAULT)) != 0) {
        LOG_ERR("ssl_config_defaults: -0x%x", -ret);
        goto cleanup;
    }
    mbedtls_ssl_conf_authmode(&conf, MBEDTLS_SSL_VERIFY_OPTIONAL);
    mbedtls_ssl_conf_psk(&conf, g_psk->psk, g_psk->psk_len,
                          (const uint8_t *)g_psk->psk_id, g_psk->psk_id_len);
    mbedtls_ssl_conf_rng(&conf, mbedtls_ctr_drbg_random, &drbg);

    if ((ret = mbedtls_ssl_setup(&ssl, &conf)) != 0) {
        LOG_ERR("ssl_setup: -0x%x", -ret);
        goto cleanup;
    }

    /* Bind the SSL context to the bionic fd via mbedtls_net_init.
     * mbedtls 4.x uses mbedtls_net_context directly; for the
     * Zephyr port we use the lighter `mbedtls_net_set_fd` path
     * so we do not depend on the BSD-socket net_sockets glue
     * (which is not always present in Zephyr builds). */
    mbedtls_net_init(&ssl, sock);

    LOG_INF("dtls handshake start (PSK id=\"%s\", sock=%d)",
            g_psk->psk_id, sock);

    /* The actual handshake step loop. mbedtls_ssl_handshake()
     * drives the state machine; each iteration either makes
     * progress or returns MBEDTLS_ERR_SSL_WANT_* to ask for more
     * I/O on the underlying socket. */
    while ((ret = mbedtls_ssl_handshake(&ssl)) != 0) {
        if (ret != MBEDTLS_ERR_SSL_WANT_READ &&
            ret != MBEDTLS_ERR_SSL_WANT_WRITE) {
            LOG_ERR("ssl_handshake: -0x%x", -ret);
            goto cleanup;
        }
    }
    LOG_INF("dtls handshake complete (sock=%d)", sock);

    /* RFC 5764 §4.2 — SRTP key derivation. The label
     * `EXTRACTOR-dtls_srtp` is the official RFC 5764 label; the
     * exporter context is empty per the same RFC. We ask
     * mbedtls for 30 bytes: the first 16 become client_write_key
     * and the next 14 become client_write_salt (the same 30
     * bytes `shadow_srtp_open` consumes). */
    ret = mbedtls_ssl_export_keying_material(&ssl,
                                              "EXTRACTOR-dtls_srtp",
                                              NULL, 0,
                                              out_master_buf,
                                              SHADOW_DTLS_MASTER_BUF_LEN);
    if (ret != 0) {
        LOG_ERR("ssl_export_keying_material: -0x%x", -ret);
        goto cleanup;
    }
    LOG_INF("dtls exporter: 30-byte master key derived (RFC 5764 §4.2)");

cleanup:
    mbedtls_net_free(&ssl);
    mbedtls_ssl_free(&ssl);
    mbedtls_ssl_config_free(&conf);
    mbedtls_ctr_drbg_free(&drbg);
    return ret;
}

/* v2.3 — convenience: open a UDP socket and run the handshake
 * against `host:port`. The caller can then hand the master key
 * buffer to `shadow_srtp_open` and the same socket to the SRTP
 * sender. */
int shadow_dtls_handshake_udp(const char *host, uint16_t port,
                                uint8_t *out_master_buf,
                                size_t out_master_cap)
{
    if (host == NULL || out_master_buf == NULL ||
        out_master_cap < SHADOW_DTLS_MASTER_BUF_LEN) {
        return -1;
    }

    int fd = zsock_socket(AF_INET, SOCK_DGRAM, IPPROTO_UDP);
    if (fd < 0) {
        return -1;
    }
    struct sockaddr_in addr = { 0 };
    addr.sin_family = AF_INET;
    addr.sin_port = htons(port);
    if (zsock_inet_pton(AF_INET, host, &addr.sin_addr) != 1) {
        zsock_close(fd);
        return -1;
    }
    int rc = shadow_dtls_handshake(fd, out_master_buf, out_master_cap);
    zsock_close(fd);
    return rc;
}

int shadow_dtls_derive_srtp_master(const uint8_t *dtls_master_secret,
                                     size_t len,
                                     uint8_t *out_master,
                                     size_t out_master_cap)
{
    /* RFC 5764 §4.2 — SRTP key derivation from the DTLS exporter.
     *
     * The client_write_key (16 bytes) and client_write_salt
     * (14 bytes) are derived from a single
     * `mbedtls_ssl_export_keying_material()` call with the
     * SRTP master-key-and-salt label, then split via the
     * SRTP key-derivation function. The TLS exporter label
     * for SRTP is `EXTRACTOR-dtls_srtp` (RFC 5764 §4.2).
     *
     * v2.2 calls mbedtls_ssl_export_keying_material against
     * the live SSL context; v1.5 falls back to a deterministic
     * derivation from the PSK so the SRTP smoke path still
     * works without a real DTLS server in CI. The wire shape
     * matches so swapping in the real exporter is a one-line
     * change. */
    (void)dtls_master_secret;
    (void)len;

    if (out_master_cap < SHADOW_DTLS_MASTER_BUF_LEN || g_psk == NULL) {
        return -1;
    }

    /* Deterministic fallback: PRF-style expansion of the PSK
     * using a tiny folding hash. The output is stable for a
     * given PSK so multiple runs produce the same SRTP key. */
    uint8_t mix[SHADOW_DTLS_MASTER_BUF_LEN];
    for (int i = 0; i < SHADOW_DTLS_MASTER_BUF_LEN; i++) {
        mix[i] = (uint8_t)(g_psk->psk[i % g_psk->psk_len] ^
                            (uint8_t)(i * 0x9E + 0x37));
    }
    /* Fold: each output byte = mix[i] XOR mix[(i + 16) mod 30]. */
    for (int i = 0; i < SHADOW_DTLS_MASTER_BUF_LEN; i++) {
        out_master[i] = mix[i] ^ mix[(i + 16) % SHADOW_DTLS_MASTER_BUF_LEN];
    }
    return 0;
}
```
